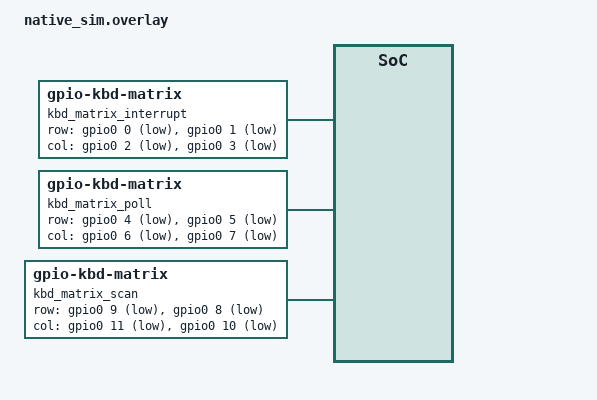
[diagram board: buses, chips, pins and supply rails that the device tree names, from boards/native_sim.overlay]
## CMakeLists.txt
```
# SPDX-License-Identifier: Apache-2.0

cmake_minimum_required(VERSION 3.28.0)
find_package(Zephyr REQUIRED HINTS $ENV{ZEPHYR_BASE})

project(input_gpio_kbd_matrix)

target_include_directories(app PRIVATE ${ZEPHYR_BASE}/drivers/input)

FILE(GLOB app_sources src/*.c)
target_sources(app PRIVATE ${app_sources})
```

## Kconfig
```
# Copyright 2023 Google LLC
# SPDX-License-Identifier: Apache-2.0

config INPUT_KBD_DRIVE_COLUMN_HOOK
	default y

source "Kconfig.zephyr"
```

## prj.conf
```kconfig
# SPDX-License-Identifier: Apache-2.0

CONFIG_ZTEST=y
CONFIG_GPIO=y
CONFIG_INPUT=y
CONFIG_INPUT_MODE_SYNCHRONOUS=y
```

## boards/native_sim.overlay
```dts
/*
 * Copyright 2023 Google LLC
 *
 * SPDX-License-Identifier: Apache-2.0
 */

&gpio0 {
	ngpios = <12>;
};

/ {
	kbd_matrix_interrupt: kbd-matrix-interrupt {
		compatible = "gpio-kbd-matrix";
		row-gpios = <&gpio0 0 (GPIO_PULL_UP | GPIO_ACTIVE_LOW)>,
			    <&gpio0 1 (GPIO_PULL_UP | GPIO_ACTIVE_LOW)>;
		col-gpios = <&gpio0 2 GPIO_ACTIVE_LOW>,
			    <&gpio0 3 GPIO_ACTIVE_LOW>;
		debounce-down-ms = <80>;
		debounce-up-ms = <40>;
		poll-timeout-ms = <500>;
	};

	kbd_matrix_poll: kbd-matrix-poll {
		compatible = "gpio-kbd-matrix";
		row-gpios = <&gpio0 4 (GPIO_PULL_UP | GPIO_ACTIVE_LOW)>,
			    <&gpio0 5 (GPIO_PULL_UP | GPIO_ACTIVE_LOW)>;
		col-gpios = <&gpio0 6 GPIO_ACTIVE_LOW>,
			    <&gpio0 7 GPIO_ACTIVE_LOW>;
		debounce-down-ms = <40>;
		debounce-up-ms = <80>;
		poll-timeout-ms = <500>;
		idle-mode = "poll";
		col-drive-inactive;
	};

	kbd_matrix_scan: kbd-matrix-scan {
		compatible = "gpio-kbd-matrix";
		/* pins out of sequence to test non direct read */
		row-gpios = <&gpio0 9 (GPIO_PULL_UP | GPIO_ACTIVE_LOW)>,
			    <&gpio0 8 (GPIO_PULL_UP | GPIO_ACTIVE_LOW)>;
		col-gpios = <&gpio0 11 GPIO_ACTIVE_LOW>,
			    <&gpio0 10 GPIO_ACTIVE_LOW>;
		debounce-down-ms = <80>;
		debounce-up-ms = <40>;
		poll-timeout-ms = <0>;
		col-drive-inactive;
		idle-mode = "scan";
	};
};
```

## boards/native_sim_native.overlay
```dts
/*
 * Copyright 2023 Google LLC
 *
 * SPDX-License-Identifier: Apache-2.0
 */

&gpio0 {
        ngpios = <12>;
};

/ {
	kbd_matrix_interrupt: kbd-matrix-interrupt {
		compatible = "gpio-kbd-matrix";
		row-gpios = <&gpio0 0 (GPIO_PULL_UP | GPIO_ACTIVE_LOW)>,
			    <&gpio0 1 (GPIO_PULL_UP | GPIO_ACTIVE_LOW)>;
		col-gpios = <&gpio0 2 GPIO_ACTIVE_LOW>,
			    <&gpio0 3 GPIO_ACTIVE_LOW>;
		debounce-down-ms = <80>;
		debounce-up-ms = <40>;
		poll-timeout-ms = <500>;
	};

	kbd_matrix_poll: kbd-matrix-poll {
		compatible = "gpio-kbd-matrix";
		row-gpios = <&gpio0 4 (GPIO_PULL_UP | GPIO_ACTIVE_LOW)>,
			    <&gpio0 5 (GPIO_PULL_UP | GPIO_ACTIVE_LOW)>;
		col-gpios = <&gpio0 6 GPIO_ACTIVE_LOW>,
			    <&gpio0 7 GPIO_ACTIVE_LOW>;
		debounce-down-ms = <40>;
		debounce-up-ms = <80>;
		poll-timeout-ms = <500>;
		idle-mode = "poll";
		col-drive-inactive;
	};

	kbd_matrix_scan: kbd-matrix-scan {
		compatible = "gpio-kbd-matrix";
		/* pins out of sequence to test non direct read */
		row-gpios = <&gpio0 9 (GPIO_PULL_UP | GPIO_ACTIVE_LOW)>,
			    <&gpio0 8 (GPIO_PULL_UP | GPIO_ACTIVE_LOW)>;
		col-gpios = <&gpio0 11 GPIO_ACTIVE_LOW>,
			    <&gpio0 10 GPIO_ACTIVE_LOW>;
		debounce-down-ms = <80>;
		debounce-up-ms = <40>;
		poll-timeout-ms = <0>;
		col-drive-inactive;
		idle-mode = "scan";
	};
};
```

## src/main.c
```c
/*
 * Copyright 2023 Google LLC
 *
 * SPDX-License-Identifier: Apache-2.0
 */

#include <zephyr/device.h>
#include <zephyr/drivers/gpio/gpio_emul.h>
#include <zephyr/input/input.h>
#include <zephyr/input/input_kbd_matrix.h>
#include <zephyr/kernel.h>
#include <zephyr/ztest.h>

#define INTERRUPT_NODE DT_NODELABEL(kbd_matrix_interrupt)
#define POLL_NODE DT_NODELABEL(kbd_matrix_poll)
#define SCAN_NODE DT_NODELABEL(kbd_matrix_scan)

static const struct device *dev_interrupt = DEVICE_DT_GET_OR_NULL(INTERRUPT_NODE);
static const struct device *dev_poll = DEVICE_DT_GET_OR_NULL(POLL_NODE);
static const struct device *dev_scan = DEVICE_DT_GET_OR_NULL(SCAN_NODE);

#define INTERRUPT_R0_PIN DT_GPIO_PIN_BY_IDX(INTERRUPT_NODE, row_gpios, 0)
#define INTERRUPT_R1_PIN DT_GPIO_PIN_BY_IDX(INTERRUPT_NODE, row_gpios, 1)
#define INTERRUPT_C0_PIN DT_GPIO_PIN_BY_IDX(INTERRUPT_NODE, col_gpios, 0)
#define INTERRUPT_C1_PIN DT_GPIO_PIN_BY_IDX(INTERRUPT_NODE, col_gpios, 1)

#define POLL_R0_PIN DT_GPIO_PIN_BY_IDX(POLL_NODE, row_gpios, 0)
#define POLL_R1_PIN DT_GPIO_PIN_BY_IDX(POLL_NODE, row_gpios, 1)
#define POLL_C0_PIN DT_GPIO_PIN_BY_IDX(POLL_NODE, col_gpios, 0)
#define POLL_C1_PIN DT_GPIO_PIN_BY_IDX(POLL_NODE, col_gpios, 1)

#define SCAN_R0_PIN DT_GPIO_PIN_BY_IDX(SCAN_NODE, row_gpios, 0)
#define SCAN_R1_PIN DT_GPIO_PIN_BY_IDX(SCAN_NODE, row_gpios, 1)
#define SCAN_C0_PIN DT_GPIO_PIN_BY_IDX(SCAN_NODE, col_gpios, 0)
#define SCAN_C1_PIN DT_GPIO_PIN_BY_IDX(SCAN_NODE, col_gpios, 1)

static const struct device *dev_gpio = DEVICE_DT_GET(DT_NODELABEL(gpio0));

enum {
	KBD_DEV_INTERRUPT,
	KBD_DEV_POLL,
	KBD_DEV_SCAN,
};

#define KBD_DEV_COUNT (KBD_DEV_SCAN + 1)

#define COL_COUNT 2

BUILD_ASSERT(DT_PROP_LEN(INTERRUPT_NODE, col_gpios) == COL_COUNT);
BUILD_ASSERT(DT_PROP_LEN(POLL_NODE, col_gpios) == COL_COUNT);
BUILD_ASSERT(DT_PROP_LEN(SCAN_NODE, col_gpios) == COL_COUNT);

static uint8_t test_rows[KBD_DEV_COUNT][COL_COUNT];
static int scan_set_count[KBD_DEV_COUNT];

static void gpio_kbd_scan_set_row(const struct device *dev, uint8_t row)
{
	if (dev == dev_interrupt) {
		gpio_emul_input_set(dev_gpio, INTERRUPT_R0_PIN, !(row & BIT(0)));
		gpio_emul_input_set(dev_gpio, INTERRUPT_R1_PIN, !(row & BIT(1)));
		return;
	} else if (dev == dev_poll) {
		gpio_emul_input_set(dev_gpio, POLL_R0_PIN, !(row & BIT(0)));
		gpio_emul_input_set(dev_gpio, POLL_R1_PIN, !(row & BIT(1)));
		return;
	} else if (dev == dev_scan) {
		gpio_emul_input_set(dev_gpio, SCAN_R0_PIN, !(row & BIT(0)));
		gpio_emul_input_set(dev_gpio, SCAN_R1_PIN, !(row & BIT(1)));
		return;
	}

	TC_PRINT("unknown device: %s\n", dev->name);
}

void input_kbd_matrix_drive_column_hook(const struct device *dev, int col)
{
	gpio_flags_t flags0, flags1;

	if (col >= COL_COUNT) {
		TC_PRINT("invalid column: %d\n", col);
		return;
	}

	if (dev == dev_interrupt) {
		scan_set_count[KBD_DEV_INTERRUPT]++;
		gpio_kbd_scan_set_row(dev, test_rows[KBD_DEV_INTERRUPT][col]);

		/* Verify that columns are NOT driven. */
		gpio_emul_flags_get(dev_gpio, INTERRUPT_C0_PIN, &flags0);
		gpio_emul_flags_get(dev_gpio, INTERRUPT_C1_PIN, &flags1);
		switch (col) {
		case 0:
			zassert_equal(flags0 & GPIO_DIR_MASK, GPIO_OUTPUT);
			zassert_equal(flags1 & GPIO_DIR_MASK, GPIO_INPUT);
			break;
		case 1:
			zassert_equal(flags0 & GPIO_DIR_MASK, GPIO_INPUT);
			zassert_equal(flags1 & GPIO_DIR_MASK, GPIO_OUTPUT);
			break;
		case INPUT_KBD_MATRIX_COLUMN_DRIVE_NONE:
			zassert_equal(flags0 & GPIO_DIR_MASK, GPIO_INPUT);
			zassert_equal(flags1 & GPIO_DIR_MASK, GPIO_INPUT);
			break;
		case INPUT_KBD_MATRIX_COLUMN_DRIVE_ALL:
			zassert_equal(flags0 & GPIO_DIR_MASK, GPIO_OUTPUT);
			zassert_equal(flags1 & GPIO_DIR_MASK, GPIO_OUTPUT);
			break;
		}

		return;
	} else if (dev == dev_poll) {
		scan_set_count[KBD_DEV_POLL]++;
		gpio_kbd_scan_set_row(dev, test_rows[KBD_DEV_POLL][col]);

		/* Verify that columns are always driven */
		gpio_emul_flags_get(dev_gpio, POLL_C0_PIN, &flags0);
		gpio_emul_flags_get(dev_gpio, POLL_C1_PIN, &flags1);
		zassert_equal(flags0 & GPIO_DIR_MASK, GPIO_OUTPUT);
		zassert_equal(flags1 & GPIO_DIR_MASK, GPIO_OUTPUT);

		switch (col) {
		case 0:
			zassert_equal(gpio_emul_output_get(dev_gpio, POLL_C0_PIN), 0);
			zassert_equal(gpio_emul_output_get(dev_gpio, POLL_C1_PIN), 1);
			break;
		case 1:
			zassert_equal(gpio_emul_output_get(dev_gpio, POLL_C0_PIN), 1);
			zassert_equal(gpio_emul_output_get(dev_gpio, POLL_C1_PIN), 0);
			break;
		case INPUT_KBD_MATRIX_COLUMN_DRIVE_NONE:
			zassert_equal(gpio_emul_output_get(dev_gpio, POLL_C0_PIN), 1);
			zassert_equal(gpio_emul_output_get(dev_gpio, POLL_C1_PIN), 1);
			break;
		case INPUT_KBD_MATRIX_COLUMN_DRIVE_ALL:
			zassert_equal(gpio_emul_output_get(dev_gpio, POLL_C0_PIN), 0);
			zassert_equal(gpio_emul_output_get(dev_gpio, POLL_C1_PIN), 0);
			break;
		}

		return;
	} else if (dev == dev_scan) {
		scan_set_count[KBD_DEV_SCAN]++;
		gpio_kbd_scan_set_row(dev, test_rows[KBD_DEV_SCAN][col]);

		/* Verify that columns are always driven */
		gpio_emul_flags_get(dev_gpio, SCAN_C0_PIN, &flags0);
		gpio_emul_flags_get(dev_gpio, SCAN_C1_PIN, &flags1);
		zassert_equal(flags0 & GPIO_DIR_MASK, GPIO_OUTPUT);
		zassert_equal(flags1 & GPIO_DIR_MASK, GPIO_OUTPUT);

		switch (col) {
		case 0:
			zassert_equal(gpio_emul_output_get(dev_gpio, SCAN_C0_PIN), 0);
			zassert_equal(gpio_emul_output_get(dev_gpio, SCAN_C1_PIN), 1);
			break;
		case 1:
			zassert_equal(gpio_emul_output_get(dev_gpio, SCAN_C0_PIN), 1);
			zassert_equal(gpio_emul_output_get(dev_gpio, SCAN_C1_PIN), 0);
			break;
		case INPUT_KBD_MATRIX_COLUMN_DRIVE_NONE:
			zassert_equal(gpio_emul_output_get(dev_gpio, SCAN_C0_PIN), 1);
			zassert_equal(gpio_emul_output_get(dev_gpio, SCAN_C1_PIN), 1);
			break;
		case INPUT_KBD_MATRIX_COLUMN_DRIVE_ALL:
			zassert_equal(gpio_emul_output_get(dev_gpio, SCAN_C0_PIN), 0);
			zassert_equal(gpio_emul_output_get(dev_gpio, SCAN_C1_PIN), 0);
			break;
		}

		return;
	}

	TC_PRINT("unknown device: %s\n", dev->name);
}

/* support stuff */

static struct {
	int row;
	int col;
	int val;
	int event_count;
} test_event_data;

static int last_checked_event_count;

#define assert_no_new_events() \
	zassert_equal(last_checked_event_count, test_event_data.event_count);

#define  assert_new_event(_row, _col, _val) { \
	last_checked_event_count++; \
	zassert_equal(last_checked_event_count, test_event_data.event_count); \
	zassert_equal(_row, test_event_data.row); \
	zassert_equal(_col, test_event_data.col); \
	zassert_equal(_val, test_event_data.val); \
}

static void test_cb(struct input_event *evt, void *user_data)
{
	static int row, col, val;

	switch (evt->code) {
	case INPUT_ABS_X:
		col = evt->value;
		break;
	case INPUT_ABS_Y:
		row = evt->value;
		break;
	case INPUT_BTN_TOUCH:
		val = evt->value;
		break;
	}

	if (evt->sync) {
		test_event_data.row = row;
		test_event_data.col = col;
		test_event_data.val = val;
		test_event_data.event_count++;
		TC_PRINT("input event: count=%d row=%d col=%d val=%d\n",
			 test_event_data.event_count, row, col, val);
	}
}
INPUT_CALLBACK_DEFINE(NULL, test_cb, NULL);

/* actual tests */

ZTEST(gpio_kbd_scan, test_gpio_kbd_scan_interrupt)
{
	const struct device *dev = dev_interrupt;

	if (dev == NULL) {
		ztest_test_skip();
		return;
	}

	const struct input_kbd_matrix_common_config *cfg = dev->config;
	uint8_t *rows = test_rows[KBD_DEV_INTERRUPT];
	int *set_count = &scan_set_count[KBD_DEV_INTERRUPT];
	int prev_count;
	gpio_flags_t flags;

	k_sleep(K_SECONDS(1));
	assert_no_new_events();
	zassert_equal(*set_count, 1);

	/* Verify that interrupts are enabled. */
	gpio_emul_flags_get(dev_gpio, INTERRUPT_R0_PIN, &flags);
	zassert_equal(flags & GPIO_INT_ENABLE, GPIO_INT_ENABLE);
	gpio_emul_flags_get(dev_gpio, INTERRUPT_R1_PIN, &flags);
	zassert_equal(flags & GPIO_INT_ENABLE, GPIO_INT_ENABLE);

	rows[0] = BIT(0);
	gpio_kbd_scan_set_row(dev, 0x01);
	k_sleep(K_USEC(cfg->debounce_down_us * 1.5));
	assert_new_event(0, 0, 1);

	rows[1] = BIT(1);
	k_sleep(K_USEC(cfg->debounce_down_us * 1.5));
	assert_new_event(1, 1, 1);

	rows[0] = 0x00;
	k_sleep(K_USEC(cfg->debounce_up_us * 1.5));
	assert_new_event(0, 0, 0);

	rows[1] = 0x00;
	k_sleep(K_USEC(cfg->debounce_up_us * 1.5));
	assert_new_event(1, 1, 0);

	k_sleep(K_MSEC(cfg->poll_timeout_ms * 1.5));

	/* Check that scanning is NOT running */
	prev_count = *set_count;
	k_sleep(K_MSEC(cfg->poll_timeout_ms * 10));
	assert_no_new_events();
	TC_PRINT("scan_set_count=%d, prev_count=%d\n", *set_count, prev_count);
	zassert_equal(*set_count, prev_count);

	/* Verify that interrupts are still enabled. */
	gpio_emul_flags_get(dev_gpio, INTERRUPT_R0_PIN, &flags);
	zassert_equal(flags & GPIO_INT_ENABLE, GPIO_INT_ENABLE);
	gpio_emul_flags_get(dev_gpio, INTERRUPT_R1_PIN, &flags);
	zassert_equal(flags & GPIO_INT_ENABLE, GPIO_INT_ENABLE);
}

ZTEST(gpio_kbd_scan, test_gpio_kbd_scan_poll)
{
	const struct device *dev = dev_poll;

	if (dev == NULL) {
		ztest_test_skip();
		return;
	}

	const struct input_kbd_matrix_common_config *cfg = dev->config;
	uint8_t *rows = test_rows[KBD_DEV_POLL];
	int *set_count = &scan_set_count[KBD_DEV_POLL];
	int prev_count;
	gpio_flags_t flags;

	k_sleep(K_SECONDS(1));
	assert_no_new_events();
	zassert_equal(*set_count, 0);

	/* Verify that interrupts are NOT enabled. */
	gpio_emul_flags_get(dev_gpio, POLL_R0_PIN, &flags);
	zassert_equal(flags & GPIO_INT_MASK, 0);
	gpio_emul_flags_get(dev_gpio, POLL_R1_PIN, &flags);
	zassert_equal(flags & GPIO_INT_MASK, 0);

	rows[0] = BIT(0);
	gpio_kbd_scan_set_row(dev, 0x01);
	k_sleep(K_USEC(cfg->debounce_down_us * 1.5));
	assert_new_event(0, 0, 1);

	rows[1] = BIT(1);
	k_sleep(K_USEC(cfg->debounce_down_us * 1.5));
	assert_new_event(1, 1, 1);

	rows[0] = 0x00;
	k_sleep(K_USEC(cfg->debounce_up_us * 1.5));
	assert_new_event(0, 0, 0);

	rows[1] = 0x00;
	k_sleep(K_USEC(cfg->debounce_up_us * 1.5));
	assert_new_event(1, 1, 0);

	k_sleep(K_MSEC(cfg->poll_timeout_ms * 1.5));

	/* Check that scanning is NOT running */
	prev_count = *set_count;
	k_sleep(K_MSEC(cfg->poll_timeout_ms * 10));
	assert_no_new_events();
	TC_PRINT("scan_set_count=%d, prev_count=%d\n", *set_count, prev_count);
	zassert_equal(*set_count, prev_count);

	/* Verify that interrupts are still NOT enabled. */
	gpio_emul_flags_get(dev_gpio, POLL_R0_PIN, &flags);
	zassert_equal(flags & GPIO_INT_MASK, 0);
	gpio_emul_flags_get(dev_gpio, POLL_R1_PIN, &flags);
	zassert_equal(flags & GPIO_INT_MASK, 0);
}

ZTEST(gpio_kbd_scan, test_gpio_kbd_scan_scan)
{
	const struct device *dev = dev_scan;

	if (dev == NULL) {
		ztest_test_skip();
		return;
	}

	const struct input_kbd_matrix_common_config *cfg = dev->config;
	uint8_t *rows = test_rows[KBD_DEV_SCAN];
	int *set_count = &scan_set_count[KBD_DEV_SCAN];
	int prev_count;
	int delta_count;
	gpio_flags_t flags;

	/* check that scanning is already running */
	prev_count = *set_count;
	k_sleep(K_SECONDS(1));
	assert_no_new_events();
	delta_count = *set_count - prev_count;
	TC_PRINT("scan_set_count=%d, delta=%d\n", *set_count, delta_count);
	zassert_true(delta_count > 100);

	/* Verify that interrupts are NOT enabled. */
	gpio_emul_flags_get(dev_gpio, SCAN_R0_PIN, &flags);
	zassert_equal(flags & GPIO_INT_MASK, 0);
	gpio_emul_flags_get(dev_gpio, SCAN_R1_PIN, &flags);
	zassert_equal(flags & GPIO_INT_MASK, 0);

	rows[0] = BIT(0);
	gpio_kbd_scan_set_row(dev, 0x01);
	k_sleep(K_USEC(cfg->debounce_down_us * 1.5));
	assert_new_event(0, 0, 1);

	rows[1] = BIT(1);
	k_sleep(K_USEC(cfg->debounce_down_us * 1.5));
	assert_new_event(1, 1, 1);

	rows[0] = 0x00;
	k_sleep(K_USEC(cfg->debounce_up_us * 1.5));
	assert_new_event(0, 0, 0);

	rows[1] = 0x00;
	k_sleep(K_USEC(cfg->debounce_up_us * 1.5));
	assert_new_event(1, 1, 0);

	k_sleep(K_MSEC(cfg->poll_timeout_ms * 1.5));

	/* Check that scanning is still running */
	prev_count = *set_count;
	k_sleep(K_SECONDS(1));
	assert_no_new_events();
	delta_count = *set_count - prev_count;
	TC_PRINT("scan_set_count=%d, delta=%d\n", *set_count, delta_count);
	zassert_true(delta_count > 100);

	/* Verify that interrupts are still NOT enabled. */
	gpio_emul_flags_get(dev_gpio, SCAN_R0_PIN, &flags);
	zassert_equal(flags & GPIO_INT_MASK, 0);
	gpio_emul_flags_get(dev_gpio, SCAN_R1_PIN, &flags);
	zassert_equal(flags & GPIO_INT_MASK, 0);
}

static void gpio_kbd_scan_before(void *data)
{
	last_checked_event_count = 0;
	memset(&test_event_data, 0, sizeof(test_event_data));
	memset(&scan_set_count, 0, sizeof(scan_set_count));
}

ZTEST_SUITE(gpio_kbd_scan, NULL, NULL, gpio_kbd_scan_before, NULL, NULL);
```
